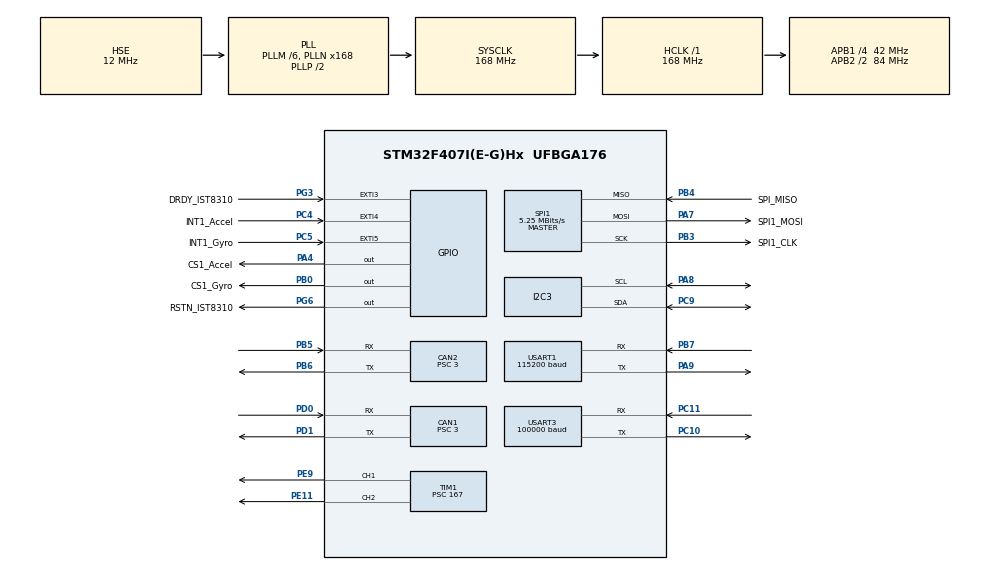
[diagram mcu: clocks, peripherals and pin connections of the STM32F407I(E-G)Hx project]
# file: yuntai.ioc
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CAN1.ABOM=ENABLE
CAN1.BS1=CAN_BS1_10TQ
CAN1.BS2=CAN_BS2_3TQ
CAN1.CalculateBaudRate=1000000
CAN1.CalculateTimeBit=1000
CAN1.CalculateTimeQuantum=71.42857142857143
CAN1.NART=ENABLE
CAN1.Prescaler=3
CAN2.ABOM=ENABLE
CAN2.BS1=CAN_BS1_10TQ
CAN2.BS2=CAN_BS2_3TQ
CAN2.CalculateBaudRate=1000000
CAN2.CalculateTimeBit=1000
CAN2.CalculateTimeQuantum=71.42857142857143
CAN2.NART=ENABLE
CAN2.Prescaler=3
Dma.Request0=USART1_TX
Dma.Request1=USART3_RX
Dma.Request2=SPI1_RX
Dma.Request3=SPI1_TX
Dma.SPI1_RX.2.Direction=DMA_PERIPH_TO_MEMORY
Dma.SPI1_RX.2.FIFOMode=DMA_FIFOMODE_DISABLE
Dma.SPI1_RX.2.Instance=DMA2_Stream0
Dma.SPI1_RX.2.MemDataAlignment=DMA_MDATAALIGN_BYTE
Dma.SPI1_RX.2.MemInc=DMA_MINC_ENABLE
Dma.SPI1_RX.2.Mode=DMA_NORMAL
Dma.SPI1_RX.2.PeriphDataAlignment=DMA_PDATAALIGN_BYTE
Dma.SPI1_RX.2.PeriphInc=DMA_PINC_DISABLE
Dma.SPI1_RX.2.Priority=DMA_PRIORITY_VERY_HIGH
Dma.SPI1_TX.3.Direction=DMA_MEMORY_TO_PERIPH
Dma.SPI1_TX.3.FIFOMode=DMA_FIFOMODE_DISABLE
Dma.SPI1_TX.3.Instance=DMA2_Stream3
Dma.SPI1_TX.3.MemDataAlignment=DMA_MDATAALIGN_BYTE
Dma.SPI1_TX.3.MemInc=DMA_MINC_ENABLE
Dma.SPI1_TX.3.Mode=DMA_NORMAL
Dma.SPI1_TX.3.PeriphDataAlignment=DMA_PDATAALIGN_BYTE
Dma.SPI1_TX.3.PeriphInc=DMA_PINC_DISABLE
Dma.SPI1_TX.3.Priority=DMA_PRIORITY_HIGH
Dma.USART1_TX.0.Direction=DMA_MEMORY_TO_PERIPH
Dma.USART1_TX.0.FIFOMode=DMA_FIFOMODE_DISABLE
Dma.USART1_TX.0.Instance=DMA2_Stream7
Dma.USART1_TX.0.MemDataAlignment=DMA_MDATAALIGN_BYTE
Dma.USART1_TX.0.MemInc=DMA_MINC_ENABLE
Dma.USART1_TX.0.Mode=DMA_NORMAL
Dma.USART1_TX.0.PeriphDataAlignment=DMA_PDATAALIGN_BYTE
Dma.USART1_TX.0.PeriphInc=DMA_PINC_DISABLE
Dma.USART1_TX.0.Priority=DMA_PRIORITY_LOW
Dma.USART3_RX.1.Direction=DMA_PERIPH_TO_MEMORY
Dma.USART3_RX.1.FIFOMode=DMA_FIFOMODE_DISABLE
Dma.USART3_RX.1.Instance=DMA1_Stream1
Dma.USART3_RX.1.MemDataAlignment=DMA_MDATAALIGN_BYTE
Dma.USART3_RX.1.MemInc=DMA_MINC_ENABLE
Dma.USART3_RX.1.Mode=DMA_NORMAL
Dma.USART3_RX.1.PeriphDataAlignment=DMA_PDATAALIGN_BYTE
Dma.USART3_RX.1.PeriphInc=DMA_PINC_DISABLE
Dma.USART3_RX.1.Priority=DMA_PRIORITY_VERY_HIGH
FREERTOS.Tasks01=task_feed_motor,26,1024,task_feed_motor_entry,As weak,NULL,Dynamic,NULL,NULL;task_yaw,26,2048,task_yaw_entry,As weak,NULL,Dynamic,NULL,NULL;task_pitch,26,2048,task_pitch_entry,As weak,NULL,Dynamic,NULL,NULL;task_dbus,27,2048,task_dbus_entry,As weak,NULL,Dynamic,NULL,NULL;task_chassis,26,1024,task_chassis_entry,As weak,NULL,Dynamic,NULL,NULL;task_ins,32,1024,task_ins_entry,As weak,NULL,Dynamic,NULL,NULL
FREERTOS.configTOTAL_HEAP_SIZE=49152
I2C3.I2C_Mode=I2C_Fast
Mcu.Family=STM32F4
Mcu.Name=STM32F407I(E-G)Hx
Mcu.Package=UFBGA176
NVIC.CAN1_RX0_IRQn=true\:5\:0\:false\:false\:true\:true\:true\:true\:true
NVIC.CAN2_RX0_IRQn=true\:5\:0\:false\:false\:true\:true\:true\:true\:true
NVIC.DMA1_Stream1_IRQn=true\:5\:0\:false\:false\:true\:true\:false\:true\:true
NVIC.DMA2_Stream0_IRQn=true\:5\:0\:false\:false\:true\:true\:false\:true\:true
NVIC.DMA2_Stream3_IRQn=true\:5\:0\:false\:false\:true\:true\:false\:true\:true
NVIC.DMA2_Stream7_IRQn=true\:5\:0\:false\:false\:true\:true\:false\:true\:true
NVIC.EXTI3_IRQn=true\:5\:0\:false\:false\:true\:true\:true\:true\:true
NVIC.EXTI4_IRQn=true\:5\:0\:false\:false\:true\:true\:true\:true\:true
NVIC.EXTI9_5_IRQn=true\:5\:0\:false\:false\:true\:true\:true\:true\:true
NVIC.PriorityGroup=NVIC_PRIORITYGROUP_4
NVIC.SPI1_IRQn=true\:5\:0\:false\:false\:true\:true\:true\:true\:true
NVIC.TIM7_IRQn=true\:15\:0\:false\:false\:true\:false\:false\:true\:true
NVIC.TimeBase=TIM7_IRQn
NVIC.TimeBaseIP=TIM7
NVIC.USART1_IRQn=true\:5\:0\:false\:false\:true\:true\:true\:true\:true
NVIC.USART3_IRQn=true\:5\:0\:false\:false\:true\:true\:true\:true\:true
PA13.Mode=Serial_Wire
PA13.Signal=SYS_JTMS-SWDIO
PA14.Mode=Serial_Wire
PA14.Signal=SYS_JTCK-SWCLK
PA4.GPIO_Label=CS1_Accel 
PA4.GPIO_PuPd=GPIO_PULLUP
PA4.GPIO_Speed=GPIO_SPEED_FREQ_HIGH
PA4.PinState=GPIO_PIN_SET
PA4.Signal=GPIO_Output
PA7.GPIO_Label=SPI1_MOSI
PA7.Mode=Full_Duplex_Master
PA7.Signal=SPI1_MOSI
PA8.Mode=I2C
PA8.Signal=I2C3_SCL
PA9.Mode=Asynchronous
PA9.Signal=USART1_TX
PB0.GPIO_Label=CS1_Gyro
PB0.GPIO_PuPd=GPIO_PULLUP
PB0.GPIO_Speed=GPIO_SPEED_FREQ_HIGH
PB0.PinState=GPIO_PIN_SET
PB0.Signal=GPIO_Output
PB3.GPIO_Label=SPI1_CLK
PB3.Mode=Full_Duplex_Master
PB3.Signal=SPI1_SCK
PB4.GPIO_Label=SPI_MISO 
PB4.Mode=Full_Duplex_Master
PB4.Signal=SPI1_MISO
PB5.Mode=CAN_Activate
PB5.Signal=CAN2_RX
PB6.Mode=CAN_Activate
PB6.Signal=CAN2_TX
PB7.Mode=Asynchronous
PB7.Signal=USART1_RX
PC10.Mode=Asynchronous
PC10.Signal=USART3_TX
PC11.GPIO_PuPd=GPIO_NOPULL
PC11.Mode=Asynchronous
PC11.Signal=USART3_RX
PC4.GPIO_Label=INT1_Accel 
PC4.GPIO_ModeDefaultEXTI=GPIO_MODE_IT_FALLING
PC4.GPIO_PuPd=GPIO_PULLUP
PC4.Signal=GPXTI4
PC5.GPIO_Label=INT1_Gyro 
PC5.GPIO_ModeDefaultEXTI=GPIO_MODE_IT_FALLING
PC5.GPIO_PuPd=GPIO_PULLUP
PC5.Signal=GPXTI5
PC9.Mode=I2C
PC9.Signal=I2C3_SDA
PD0.Mode=CAN_Activate
PD0.Signal=CAN1_RX
PD1.Mode=CAN_Activate
PD1.Signal=CAN1_TX
PE11.Signal=S_TIM1_CH2
PE9.Signal=S_TIM1_CH1
PG3.GPIO_Label=DRDY_IST8310 
PG3.GPIO_ModeDefaultEXTI=GPIO_MODE_IT_FALLING
PG3.GPIO_PuPd=GPIO_PULLUP
PG3.Signal=GPXTI3
PG6.GPIO_Label=RSTN_IST8310
PG6.GPIO_PuPd=GPIO_PULLUP
PG6.GPIO_Speed=GPIO_SPEED_FREQ_MEDIUM
PG6.PinState=GPIO_PIN_SET
PG6.Signal=GPIO_Output
PH0-OSC_IN.Mode=HSE-External-Oscillator
PH0-OSC_IN.Signal=RCC_OSC_IN
PH1-OSC_OUT.Mode=HSE-External-Oscillator
PH1-OSC_OUT.Signal=RCC_OSC_OUT
ProjectManager.HeapSize=0x200
ProjectManager.StackSize=0x400
ProjectManager.TargetToolchain=CMake
RCC.48MHZClocksFreq_Value=84000000
RCC.AHBFreq_Value=168000000
RCC.APB1CLKDivider=RCC_HCLK_DIV4
RCC.APB1Freq_Value=42000000
RCC.APB1TimFreq_Value=84000000
RCC.APB2CLKDivider=RCC_HCLK_DIV2
RCC.APB2Freq_Value=84000000
RCC.APB2TimFreq_Value=168000000
RCC.CortexFreq_Value=168000000
RCC.HCLKFreq_Value=168000000
RCC.HSE_VALUE=12000000
RCC.HSI_VALUE=16000000
RCC.LSE_VALUE=32768
RCC.PLLM=6
RCC.PLLN=168
RCC.PLLSourceVirtual=RCC_PLLSOURCE_HSE
RCC.SYSCLKFreq_VALUE=168000000
RCC.SYSCLKSource=RCC_SYSCLKSOURCE_PLLCLK
RCC.VCOOutputFreq_Value=336000000
SH.S_TIM1_CH1.0=TIM1_CH1,PWM Generation1 CH1
SH.S_TIM1_CH2.0=TIM1_CH2,PWM Generation2 CH2
SPI1.BaudRatePrescaler=SPI_BAUDRATEPRESCALER_16
SPI1.CLKPhase=SPI_PHASE_2EDGE
SPI1.CLKPolarity=SPI_POLARITY_HIGH
SPI1.CalculateBaudRate=5.25 MBits/s
SPI1.Direction=SPI_DIRECTION_2LINES
SPI1.Mode=SPI_MODE_MASTER
SPI1.VirtualType=VM_MASTER
TIM1.Channel-PWM\ Generation1\ CH1=TIM_CHANNEL_1
TIM1.Channel-PWM\ Generation2\ CH2=TIM_CHANNEL_2
TIM1.Period=19999
TIM1.Prescaler=167
TIM1.Pulse-PWM\ Generation1\ CH1=1000
TIM1.Pulse-PWM\ Generation2\ CH2=1000
USART1.BaudRate=115200
USART1.VirtualMode=VM_ASYNC
USART3.BaudRate=100000
USART3.Mode=MODE_RX
USART3.Parity=PARITY_EVEN
USART3.StopBits=STOPBITS_1
USART3.VirtualMode=VM_ASYNC
USART3.WordLength=WORDLENGTH_9B
VP_FREERTOS_VS_CMSIS_V2.Mode=CMSIS_V2
VP_SYS_VS_tim7.Mode=TIM7
board=custom

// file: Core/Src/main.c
/* USER CODE BEGIN Header */
/**
  ******************************************************************************
  * @file           : main.c
  * @brief          : Main program body
  ******************************************************************************
  * @attention
  *
  * Copyright (c) 2026 STMicroelectronics.
  * All rights reserved.
  *
  * This software is licensed under terms that can be found in the LICENSE file
  * in the root directory of this software component.
  * If no LICENSE file comes with this software, it is provided AS-IS.
  *
  ******************************************************************************
  */
/* USER CODE END Header */
#include "main.h"
#include "cmsis_os.h"
#include "can.h"
#include "dma.h"
#include "i2c.h"
#include "spi.h"
#include "tim.h"
#include "usart.h"
#include "gpio.h"

void SystemClock_Config(void);
void MX_FREERTOS_Init(void);

int main(void)
{

  /* MCU Configuration--------------------------------------------------------*/

  /* Reset of all peripherals, Initializes the Flash interface and the Systick. */
  HAL_Init();

  /* Configure the system clock */
  SystemClock_Config();

  /* Initialize all configured peripherals */
  MX_GPIO_Init();
  MX_DMA_Init();
  MX_CAN1_Init();
  MX_USART1_UART_Init();
  MX_USART3_UART_Init();
  MX_TIM1_Init();
  MX_CAN2_Init();
  MX_SPI1_Init();
  MX_I2C3_Init();
  /* USER CODE BEGIN 2 */
  /* STM32F407 双 CAN 共用过滤器：bank 0~13 留给底盘 CAN1，bank 14~27 属于云台 CAN2。
   * 掩码全零会接收所有帧；驱动再校验标准数据帧和 ID。只换 hcan 而保留 bank 0 会让 CAN2 收不到反馈。
   * CAN1 底盘和 CAN2 云台的过滤器分界必须相同，不能复制源底盘的分界值 0。 */
  CAN_FilterTypeDef filter_cfg = {0};
  filter_cfg.FilterBank = 14;
  filter_cfg.FilterMode = CAN_FILTERMODE_IDMASK;
  filter_cfg.FilterScale = CAN_FILTERSCALE_32BIT;
  filter_cfg.FilterIdHigh = 0x0000;
  filter_cfg.FilterIdLow = 0x0000;
  filter_cfg.FilterMaskIdHigh = 0x0000;
  filter_cfg.FilterMaskIdLow = 0x0000;
  filter_cfg.FilterFIFOAssignment = CAN_RX_FIFO0;
  filter_cfg.FilterActivation = ENABLE;
  filter_cfg.SlaveStartFilterBank = 14;
  /* bank 0 用 16 位列表精确匹配四个底盘标准数据帧；IDE/RTR 位均为零。
   * 16 位列表的四个字段均表示 ID，不是掩码；低 5 位是硬件标志，标准 ID 左移 5 位。 */
  CAN_FilterTypeDef chassis_filter = filter_cfg;
  chassis_filter.FilterBank = 0;
  chassis_filter.FilterMode = CAN_FILTERMODE_IDLIST;
  chassis_filter.FilterScale = CAN_FILTERSCALE_16BIT;
  chassis_filter.FilterIdHigh = 0x201U << 5U;
  chassis_filter.FilterIdLow = 0x202U << 5U;
  chassis_filter.FilterMaskIdHigh = 0x203U << 5U;
  chassis_filter.FilterMaskIdLow = 0x204U << 5U;
  /* 两组过滤器先全部配好，再启动双总线，避免配置共享资源时另一条总线已收发。 */
  if (HAL_CAN_ConfigFilter(&hcan1, &chassis_filter) != HAL_OK ||
      HAL_CAN_ConfigFilter(&hcan2, &filter_cfg) != HAL_OK ||
      HAL_CAN_Start(&hcan1) != HAL_OK ||
      HAL_CAN_ActivateNotification(&hcan1, CAN_IT_RX_FIFO0_MSG_PENDING) != HAL_OK) {
    Error_Handler();
  }
  if (HAL_CAN_Start(&hcan2) != HAL_OK ||
      HAL_CAN_ActivateNotification(&hcan2, CAN_IT_RX_FIFO0_MSG_PENDING) != HAL_OK) {
    /* CAN 初始化失败时保持 Error_Handler 的安全停机，不让任务在未过滤/未启动总线上运行。 */
    Error_Handler();
  }
  /* USER CODE END 2 */

  /* Init scheduler */
  osKernelInitialize();  /* Call init function for freertos objects (in cmsis_os2.c) */
  MX_FREERTOS_Init();

  /* Start scheduler */
  osKernelStart();

  /* We should never get here as control is now taken by the scheduler */

  /* Infinite loop */
  while (1)
  {

  }
}

void SystemClock_Config(void)
{
  RCC_OscInitTypeDef RCC_OscInitStruct = {0};
  RCC_ClkInitTypeDef RCC_ClkInitStruct = {0};

  /** Configure the main internal regulator output voltage
  */
  __HAL_RCC_PWR_CLK_ENABLE();
  __HAL_PWR_VOLTAGESCALING_CONFIG(PWR_REGULATOR_VOLTAGE_SCALE1);

  /** Initializes the RCC Oscillators according to the specified parameters
  * in the RCC_OscInitTypeDef structure.
  */
  RCC_OscInitStruct.OscillatorType = RCC_OSCILLATORTYPE_HSE;
  RCC_OscInitStruct.HSEState = RCC_HSE_ON;
  RCC_OscInitStruct.PLL.PLLState = RCC_PLL_ON;
  RCC_OscInitStruct.PLL.PLLSource = RCC_PLLSOURCE_HSE;
  RCC_OscInitStruct.PLL.PLLM = 6;
  RCC_OscInitStruct.PLL.PLLN = 168;
  RCC_OscInitStruct.PLL.PLLP = RCC_PLLP_DIV2;
  RCC_OscInitStruct.PLL.PLLQ = 4;
  if (HAL_RCC_OscConfig(&RCC_OscInitStruct) != HAL_OK)
  {
    Error_Handler();
  }

  /** Initializes the CPU, AHB and APB buses clocks
  */
  RCC_ClkInitStruct.ClockType = RCC_CLOCKTYPE_HCLK|RCC_CLOCKTYPE_SYSCLK
                              |RCC_CLOCKTYPE_PCLK1|RCC_CLOCKTYPE_PCLK2;
  RCC_ClkInitStruct.SYSCLKSource = RCC_SYSCLKSOURCE_PLLCLK;
  RCC_ClkInitStruct.AHBCLKDivider = RCC_SYSCLK_DIV1;
  RCC_ClkInitStruct.APB1CLKDivider = RCC_HCLK_DIV4;
  RCC_ClkInitStruct.APB2CLKDivider = RCC_HCLK_DIV2;

  if (HAL_RCC_ClockConfig(&RCC_ClkInitStruct, FLASH_LATENCY_5) != HAL_OK)
  {
    Error_Handler();
  }
}

void HAL_TIM_PeriodElapsedCallback(TIM_HandleTypeDef *htim)
{
  if (htim->Instance == TIM7)
  {
    HAL_IncTick();
  }
}

void Error_Handler(void)
{
  __disable_irq();
  while (1)
  {
  }
}

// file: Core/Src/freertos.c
/* USER CODE BEGIN Header */
/**
  ******************************************************************************
  * File Name          : freertos.c
  * Description        : Code for freertos applications
  ******************************************************************************
  * @attention
  *
  * Copyright (c) 2026 STMicroelectronics.
  * All rights reserved.
  *
  * This software is licensed under terms that can be found in the LICENSE file
  * in the root directory of this software component.
  * If no LICENSE file comes with this software, it is provided AS-IS.
  *
  ******************************************************************************
  */
/* USER CODE END Header */

#include "FreeRTOS.h"
#include "task.h"
#include "main.h"
#include "cmsis_os.h"

/* USER CODE BEGIN Includes */
#include "c610_m2006.h"
#include "can.h"
#include <string.h>
/* USER CODE END Includes */

/* USER CODE BEGIN Variables */

volatile FreeRtosFaultContextTypeDef g_freertos_fault_context;

static void FreeRtos_RecordFault(uint32_t signature, TaskHandle_t task) {
  g_freertos_fault_context.signature = signature;
  g_freertos_fault_context.task_handle = (uint32_t)(uintptr_t)task;
  g_freertos_fault_context.stack_high_water_words = task != NULL
      ? (uint32_t)uxTaskGetStackHighWaterMark(task) : 0U;
  g_freertos_fault_context.free_heap_bytes = xPortGetFreeHeapSize();
  g_freertos_fault_context.scheduler_state =
      (uint32_t)xTaskGetSchedulerState();
  memset((void *)g_freertos_fault_context.task_name, 0,
         sizeof(g_freertos_fault_context.task_name));
  if (task != NULL) {
    const char *name = pcTaskGetName(task);
    if (name != NULL) {
      strncpy((char *)g_freertos_fault_context.task_name, name,
              sizeof(g_freertos_fault_context.task_name) - 1U);
    }
  }
}

/* configCHECK_FOR_STACK_OVERFLOW=2：FreeRTOS 在每次切换任务时调用。 */
void vApplicationStackOverflowHook(TaskHandle_t task, char *task_name) {
  (void)task_name;
  FreeRtos_RecordFault(0x53544B4FU, task); /* STKO */
  taskDISABLE_INTERRUPTS();
  for (;;) {
  }
}

/* configUSE_MALLOC_FAILED_HOOK=1：保留堆耗尽现场，避免继续运行破坏内核链表。 */
void vApplicationMallocFailedHook(void) {
  FreeRtos_RecordFault(0x4D414C4CU, xTaskGetCurrentTaskHandle()); /* MALL */
  taskDISABLE_INTERRUPTS();
  for (;;) {
  }
}

/* USER CODE END Variables */
/* Definitions for task_feed_motor */
osThreadId_t task_feed_motorHandle;
const osThreadAttr_t task_feed_motor_attributes = {
  .name = "task_feed_motor",
  .stack_size = 1024 * 4,
  .priority = (osPriority_t) osPriorityNormal2,
};
/* Definitions for task_yaw */
osThreadId_t task_yawHandle;
const osThreadAttr_t task_yaw_attributes = {
  .name = "task_yaw",
  .stack_size = 2048 * 4,
  .priority = (osPriority_t) osPriorityNormal2,
};
/* Definitions for task_pitch */
osThreadId_t task_pitchHandle;
const osThreadAttr_t task_pitch_attributes = {
  .name = "task_pitch",
  .stack_size = 2048 * 4,
  .priority = (osPriority_t) osPriorityNormal2,
};
/* Definitions for task_dbus */
osThreadId_t task_dbusHandle;
const osThreadAttr_t task_dbus_attributes = {
  .name = "task_dbus",
  .stack_size = 2048 * 4,
  .priority = (osPriority_t) osPriorityNormal3,
};
/* Definitions for task_chassis */
osThreadId_t task_chassisHandle;
const osThreadAttr_t task_chassis_attributes = {
  .name = "task_chassis",
  .stack_size = 1024 * 4,
  .priority = (osPriority_t) osPriorityNormal2,
};
/* Definitions for task_ins */
osThreadId_t task_insHandle;
const osThreadAttr_t task_ins_attributes = {
  .name = "task_ins",
  .stack_size = 1024 * 4,
  .priority = (osPriority_t) osPriorityAboveNormal,
};

void task_feed_motor_entry(void *argument);
void task_yaw_entry(void *argument);
void task_pitch_entry(void *argument);
void task_dbus_entry(void *argument);
void task_chassis_entry(void *argument);
void task_ins_entry(void *argument);

void MX_FREERTOS_Init(void); /* (MISRA C 2004 rule 8.1) */

void MX_FREERTOS_Init(void) {

  /* Create the thread(s) */
  /* creation of task_feed_motor */
  task_feed_motorHandle = osThreadNew(task_feed_motor_entry, NULL, &task_feed_motor_attributes);

  /* creation of task_yaw */
  task_yawHandle = osThreadNew(task_yaw_entry, NULL, &task_yaw_attributes);

  /* creation of task_pitch */
  task_pitchHandle = osThreadNew(task_pitch_entry, NULL, &task_pitch_attributes);

  /* creation of task_dbus */
  task_dbusHandle = osThreadNew(task_dbus_entry, NULL, &task_dbus_attributes);

  /* creation of task_chassis */
  task_chassisHandle = osThreadNew(task_chassis_entry, NULL, &task_chassis_attributes);

  /* creation of task_ins */
  task_insHandle = osThreadNew(task_ins_entry, NULL, &task_ins_attributes);

}

__weak void task_feed_motor_entry(void *argument)
{
  /* USER CODE BEGIN task_feed_motor_entry */
  (void)argument;
  /* Infinite loop */
  for(;;)
  {
    osDelay(1);
  }
  /* USER CODE END task_feed_motor_entry */
}

/* USER CODE BEGIN Header_task_yaw_entry */
/**
  * @brief  云台底盘（Yaw/水平轴）任务的 CubeMX 默认弱实现（没有强实现时只让出 CPU）。
  * @param  argument 任务参数，当前未使用（保留 FreeRTOS 入口签名）。
  * @retval None 任务不会返回（循环通过 osDelay 让出调度）。
  *
  * @note   这里先保留安全空任务，避免用户尚未完成 Yaw 句柄初始化时
  *         意外给 GM6020 输出电流。后续应在独立任务源文件中提供同名强
  *         定义，并在任务循环内调用 Gm6020_Process()/Gm6020_Send()。
  */
/* USER CODE END Header_task_yaw_entry */
__weak void task_yaw_entry(void *argument)
{
  /* USER CODE BEGIN task_yaw_entry */
  (void)argument;
  /* Infinite loop */
  for(;;)
  {
    osDelay(1);
  }
  /* USER CODE END task_yaw_entry */
}

/* USER CODE BEGIN Header_task_pitch_entry */
/**
  * @brief  发射云台（Pitch/纵向轴）任务的 CubeMX 默认弱实现（没有强实现时保持安全空转）。
  * @param  argument 任务参数，当前未使用（保留 FreeRTOS 入口签名）。
  * @retval None 任务不会返回（循环通过 osDelay 让出调度）。
  *
  * @note   Pitch 通常使用 GM6020 反馈 ID 0x206。正式实现时应在本任务
  *         中使用独立的 Gm6020_HandleTypeDef，并保持输出默认关闭；不能
  *         复用 Yaw 任务的句柄，否则两个轴的目标电流和限位状态会互相覆盖。
  */
/* USER CODE END Header_task_pitch_entry */
__weak void task_pitch_entry(void *argument)
{
  /* USER CODE BEGIN task_pitch_entry */
  (void)argument;
  /* Infinite loop */
  for(;;)
  {
    /* 空任务只让出 CPU，不初始化电机、不发送电流（避免弱实现误驱动硬件）。 */
    osDelay(1);
  }
  /* USER CODE END task_pitch_entry */
}

/* USER CODE BEGIN Header_task_dbus_entry */
/**
 * @brief DBUS 任务安全弱实现（未链接强入口时不启动 DMA、不发布命令）。
 * @param argument 未使用的任务参数。
 * @retval None 循环让出 CPU，不会返回。
 */
/* USER CODE END Header_task_dbus_entry */
__weak void task_dbus_entry(void *argument)
{
  /* USER CODE BEGIN task_dbus_entry */
  (void)argument;
  for (;;) {
    osDelay(1);
  }
  /* USER CODE END task_dbus_entry */
}

__weak void task_chassis_entry(void *argument)
{
  for(;;)
  {
    osDelay(1);
  }
}

__weak void task_ins_entry(void *argument)
{
  for(;;)
  {
    osDelay(1);
  }
}
